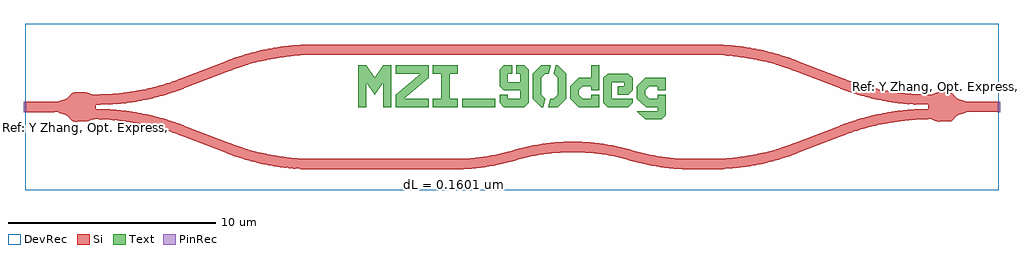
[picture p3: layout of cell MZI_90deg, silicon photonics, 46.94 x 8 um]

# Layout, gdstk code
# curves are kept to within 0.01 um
import gdstk
lib = gdstk.Library(unit=1e-6, precision=1e-09)
def R(c, l, rs):  # rectangles x0, y0, x1, y1
    for r in rs: c.add(gdstk.rectangle(r[:2], r[2:], *l))
def P(c, l, *ps):  # polygons
    for p in ps: c.add(gdstk.Polygon(p, *l))
Si = (1, 0)
PinRec = (1, 10)
Text = (10, 0)
DevRec = (68, 0)

optical_port1_1 = lib.new_cell('optical_port1$1')
optical_port1_1.add(gdstk.FlexPath([(0.05,0),(-0.05,0)], 0.5, ends="flush", simple_path=True, layer=1, datatype=10))  # PinRec
optical_port1_1.add(gdstk.FlexPath([(0.05,0),(-0.05,0)], 0.5, ends="flush", simple_path=True, layer=1, datatype=10))  # PinRec
optical_port1_1.add(gdstk.FlexPath([(0.05,0),(-0.05,0)], 0.5, ends="flush", simple_path=True, layer=1, datatype=10))  # PinRec
optical_port1_1.add(gdstk.FlexPath([(0.05,0),(-0.05,0)], 0.5, ends="flush", simple_path=True, layer=1, datatype=10))  # PinRec
optical_port1_1.add(gdstk.FlexPath([(0.05,0),(-0.05,0)], 0.5, ends="flush", simple_path=True, layer=1, datatype=10))  # PinRec
optical_port1_1.add(gdstk.FlexPath([(0.05,0),(-0.05,0)], 0.5, ends="flush", simple_path=True, layer=1, datatype=10))  # PinRec
optical_port1_1.add(gdstk.FlexPath([(0.05,0),(-0.05,0)], 0.5, ends="flush", simple_path=True, layer=1, datatype=10))  # PinRec
optical_port1_1.add(gdstk.FlexPath([(0.05,0),(-0.05,0)], 0.5, ends="flush", simple_path=True, layer=1, datatype=10))  # PinRec
optical_port1_1.add(gdstk.FlexPath([(0.05,0),(-0.05,0)], 0.5, ends="flush", simple_path=True, layer=1, datatype=10))  # PinRec
optical_port1_1.add(gdstk.FlexPath([(0.05,0),(-0.05,0)], 0.5, ends="flush", simple_path=True, layer=1, datatype=10))  # PinRec
optical_port1_1.add(gdstk.FlexPath([(0.05,0),(-0.05,0)], 0.5, ends="flush", simple_path=True, layer=1, datatype=10))  # PinRec
optical_port1_1.add(gdstk.FlexPath([(0.05,0),(-0.05,0)], 0.5, ends="flush", simple_path=True, layer=1, datatype=10))  # PinRec
optical_port1_1.add(gdstk.FlexPath([(0.05,0),(-0.05,0)], 0.5, ends="flush", simple_path=True, layer=1, datatype=10))  # PinRec
optical_port1_1.add(gdstk.FlexPath([(0.05,0),(-0.05,0)], 0.5, ends="flush", simple_path=True, layer=1, datatype=10))  # PinRec
optical_port1_1.add(gdstk.FlexPath([(0.05,0),(-0.05,0)], 0.5, ends="flush", simple_path=True, layer=1, datatype=10))  # PinRec
optical_port1_1.add(gdstk.FlexPath([(0.05,0),(-0.05,0)], 0.5, ends="flush", simple_path=True, layer=1, datatype=10))  # PinRec
optical_port1_1.add(gdstk.FlexPath([(0.05,0),(-0.05,0)], 0.5, ends="flush", simple_path=True, layer=1, datatype=10))  # PinRec
optical_port1_1.add(gdstk.FlexPath([(0.05,0),(-0.05,0)], 0.5, ends="flush", simple_path=True, layer=1, datatype=10))  # PinRec
optical_port1_1.add(gdstk.FlexPath([(0.05,0),(-0.05,0)], 0.5, ends="flush", simple_path=True, layer=1, datatype=10))  # PinRec
optical_port1_1.add(gdstk.FlexPath([(0.05,0),(-0.05,0)], 0.5, ends="flush", simple_path=True, layer=1, datatype=10))  # PinRec
optical_port1_1.add(gdstk.FlexPath([(0.05,0),(-0.05,0)], 0.5, ends="flush", simple_path=True, layer=1, datatype=10))  # PinRec
optical_port1_1.add(gdstk.FlexPath([(0.05,0),(-0.05,0)], 0.5, ends="flush", simple_path=True, layer=1, datatype=10))  # PinRec
optical_port1_1.add(gdstk.FlexPath([(0.05,0),(-0.05,0)], 0.5, ends="flush", simple_path=True, layer=1, datatype=10))  # PinRec
optical_port1_1.add(gdstk.FlexPath([(0.05,0),(-0.05,0)], 0.5, ends="flush", simple_path=True, layer=1, datatype=10))  # PinRec
optical_port1_1.add(gdstk.FlexPath([(0.05,0),(-0.05,0)], 0.5, ends="flush", simple_path=True, layer=1, datatype=10))  # PinRec
optical_port1_1.add(gdstk.FlexPath([(0.05,0),(-0.05,0)], 0.5, ends="flush", simple_path=True, layer=1, datatype=10))  # PinRec
optical_port1_1.add(gdstk.FlexPath([(0.05,0),(-0.05,0)], 0.5, ends="flush", simple_path=True, layer=1, datatype=10))  # PinRec
optical_port1_1.add(gdstk.FlexPath([(0.05,0),(-0.05,0)], 0.5, ends="flush", simple_path=True, layer=1, datatype=10))  # PinRec
optical_port1_1.add(gdstk.FlexPath([(0.05,0),(-0.05,0)], 0.5, ends="flush", simple_path=True, layer=1, datatype=10))  # PinRec
optical_port1_1.add(gdstk.FlexPath([(0.05,0),(-0.05,0)], 0.5, ends="flush", simple_path=True, layer=1, datatype=10))  # PinRec
optical_port1_1.add(gdstk.FlexPath([(0.05,0),(-0.05,0)], 0.5, ends="flush", simple_path=True, layer=1, datatype=10))  # PinRec
optical_port1_1.add(gdstk.FlexPath([(0.05,0),(-0.05,0)], 0.5, ends="flush", simple_path=True, layer=1, datatype=10))  # PinRec
optical_port1_1.add(gdstk.FlexPath([(0.05,0),(-0.05,0)], 0.5, ends="flush", simple_path=True, layer=1, datatype=10))  # PinRec
optical_port1_1.add(gdstk.FlexPath([(0.05,0),(-0.05,0)], 0.5, ends="flush", simple_path=True, layer=1, datatype=10))  # PinRec
optical_port1_1.add(gdstk.FlexPath([(0.05,0),(-0.05,0)], 0.5, ends="flush", simple_path=True, layer=1, datatype=10))  # PinRec
optical_port1_1.add(gdstk.FlexPath([(0.05,0),(-0.05,0)], 0.5, ends="flush", simple_path=True, layer=1, datatype=10))  # PinRec
optical_port1_1.add(gdstk.FlexPath([(0.05,0),(-0.05,0)], 0.5, ends="flush", simple_path=True, layer=1, datatype=10))  # PinRec
optical_port1_1.add(gdstk.FlexPath([(0.05,0),(-0.05,0)], 0.5, ends="flush", simple_path=True, layer=1, datatype=10))  # PinRec
optical_port1_1.add(gdstk.FlexPath([(0.05,0),(-0.05,0)], 0.5, ends="flush", simple_path=True, layer=1, datatype=10))  # PinRec
optical_port1_1.add(gdstk.FlexPath([(0.05,0),(-0.05,0)], 0.5, ends="flush", simple_path=True, layer=1, datatype=10))  # PinRec
optical_port1_1.add(gdstk.FlexPath([(0.05,0),(-0.05,0)], 0.5, ends="flush", simple_path=True, layer=1, datatype=10))  # PinRec
optical_port1_1.add(gdstk.FlexPath([(0.05,0),(-0.05,0)], 0.5, ends="flush", simple_path=True, layer=1, datatype=10))  # PinRec
optical_port1_1.add(gdstk.Label('o1', (0,0), layer=1, texttype=10))
optical_port1_1.add(gdstk.Label('o1', (0,0), layer=1, texttype=10))
optical_port1_1.add(gdstk.Label('o1', (0,0), layer=1, texttype=10))
optical_port1_1.add(gdstk.Label('o1', (0,0), layer=1, texttype=10))
optical_port1_1.add(gdstk.Label('o1', (0,0), layer=1, texttype=10))
optical_port1_1.add(gdstk.Label('o1', (0,0), layer=1, texttype=10))
optical_port1_1.add(gdstk.Label('o1', (0,0), layer=1, texttype=10))
optical_port1_1.add(gdstk.Label('o1', (0,0), layer=1, texttype=10))
optical_port1_1.add(gdstk.Label('o1', (0,0), layer=1, texttype=10))
optical_port1_1.add(gdstk.Label('o1', (0,0), layer=1, texttype=10))
optical_port1_1.add(gdstk.Label('o1', (0,0), layer=1, texttype=10))
optical_port1_1.add(gdstk.Label('o1', (0,0), layer=1, texttype=10))
optical_port1_1.add(gdstk.Label('o1', (0,0), layer=1, texttype=10))
optical_port1_1.add(gdstk.Label('o1', (0,0), layer=1, texttype=10))
optical_port1_1.add(gdstk.Label('o1', (0,0), layer=1, texttype=10))
optical_port1_1.add(gdstk.Label('o1', (0,0), layer=1, texttype=10))
optical_port1_1.add(gdstk.Label('o1', (0,0), layer=1, texttype=10))
optical_port1_1.add(gdstk.Label('o1', (0,0), layer=1, texttype=10))
optical_port1_1.add(gdstk.Label('o1', (0,0), layer=1, texttype=10))
optical_port1_1.add(gdstk.Label('o1', (0,0), layer=1, texttype=10))
optical_port1_1.add(gdstk.Label('o1', (0,0), layer=1, texttype=10))
optical_port1_1.add(gdstk.Label('o1', (0,0), layer=1, texttype=10))
optical_port1_1.add(gdstk.Label('o1', (0,0), layer=1, texttype=10))
optical_port1_1.add(gdstk.Label('o1', (0,0), layer=1, texttype=10))
optical_port1_1.add(gdstk.Label('o1', (0,0), layer=1, texttype=10))
optical_port1_1.add(gdstk.Label('o1', (0,0), layer=1, texttype=10))
optical_port1_1.add(gdstk.Label('o1', (0,0), layer=1, texttype=10))
optical_port1_1.add(gdstk.Label('o1', (0,0), layer=1, texttype=10))
optical_port1_1.add(gdstk.Label('o1', (0,0), layer=1, texttype=10))
optical_port1_1.add(gdstk.Label('o1', (0,0), layer=1, texttype=10))
optical_port1_1.add(gdstk.Label('o1', (0,0), layer=1, texttype=10))
optical_port1_1.add(gdstk.Label('o1', (0,0), layer=1, texttype=10))
optical_port1_1.add(gdstk.Label('o1', (0,0), layer=1, texttype=10))
optical_port1_1.add(gdstk.Label('o1', (0,0), layer=1, texttype=10))
optical_port1_1.add(gdstk.Label('o1', (0,0), layer=1, texttype=10))
optical_port1_1.add(gdstk.Label('o1', (0,0), layer=1, texttype=10))
optical_port1_1.add(gdstk.Label('o1', (0,0), layer=1, texttype=10))
optical_port1_1.add(gdstk.Label('o1', (0,0), layer=1, texttype=10))
optical_port1_1.add(gdstk.Label('o1', (0,0), layer=1, texttype=10))
optical_port1_1.add(gdstk.Label('o1', (0,0), layer=1, texttype=10))
optical_port1_1.add(gdstk.Label('o1', (0,0), layer=1, texttype=10))
optical_port1_1.add(gdstk.Label('o1', (0,0), layer=1, texttype=10))

optical_port2_1 = lib.new_cell('optical_port2$1')
optical_port2_1.add(gdstk.FlexPath([(-0.05,0),(0.05,0)], 0.5, ends="flush", simple_path=True, layer=1, datatype=10))  # PinRec
optical_port2_1.add(gdstk.FlexPath([(-0.05,0),(0.05,0)], 0.5, ends="flush", simple_path=True, layer=1, datatype=10))  # PinRec
optical_port2_1.add(gdstk.FlexPath([(-0.05,0),(0.05,0)], 0.5, ends="flush", simple_path=True, layer=1, datatype=10))  # PinRec
optical_port2_1.add(gdstk.FlexPath([(-0.05,0),(0.05,0)], 0.5, ends="flush", simple_path=True, layer=1, datatype=10))  # PinRec
optical_port2_1.add(gdstk.FlexPath([(-0.05,0),(0.05,0)], 0.5, ends="flush", simple_path=True, layer=1, datatype=10))  # PinRec
optical_port2_1.add(gdstk.FlexPath([(-0.05,0),(0.05,0)], 0.5, ends="flush", simple_path=True, layer=1, datatype=10))  # PinRec
optical_port2_1.add(gdstk.FlexPath([(-0.05,0),(0.05,0)], 0.5, ends="flush", simple_path=True, layer=1, datatype=10))  # PinRec
optical_port2_1.add(gdstk.FlexPath([(-0.05,0),(0.05,0)], 0.5, ends="flush", simple_path=True, layer=1, datatype=10))  # PinRec
optical_port2_1.add(gdstk.FlexPath([(-0.05,0),(0.05,0)], 0.5, ends="flush", simple_path=True, layer=1, datatype=10))  # PinRec
optical_port2_1.add(gdstk.FlexPath([(-0.05,0),(0.05,0)], 0.5, ends="flush", simple_path=True, layer=1, datatype=10))  # PinRec
optical_port2_1.add(gdstk.FlexPath([(-0.05,0),(0.05,0)], 0.5, ends="flush", simple_path=True, layer=1, datatype=10))  # PinRec
optical_port2_1.add(gdstk.FlexPath([(-0.05,0),(0.05,0)], 0.5, ends="flush", simple_path=True, layer=1, datatype=10))  # PinRec
optical_port2_1.add(gdstk.FlexPath([(-0.05,0),(0.05,0)], 0.5, ends="flush", simple_path=True, layer=1, datatype=10))  # PinRec
optical_port2_1.add(gdstk.FlexPath([(-0.05,0),(0.05,0)], 0.5, ends="flush", simple_path=True, layer=1, datatype=10))  # PinRec
optical_port2_1.add(gdstk.FlexPath([(-0.05,0),(0.05,0)], 0.5, ends="flush", simple_path=True, layer=1, datatype=10))  # PinRec
optical_port2_1.add(gdstk.FlexPath([(-0.05,0),(0.05,0)], 0.5, ends="flush", simple_path=True, layer=1, datatype=10))  # PinRec
optical_port2_1.add(gdstk.FlexPath([(-0.05,0),(0.05,0)], 0.5, ends="flush", simple_path=True, layer=1, datatype=10))  # PinRec
optical_port2_1.add(gdstk.FlexPath([(-0.05,0),(0.05,0)], 0.5, ends="flush", simple_path=True, layer=1, datatype=10))  # PinRec
optical_port2_1.add(gdstk.FlexPath([(-0.05,0),(0.05,0)], 0.5, ends="flush", simple_path=True, layer=1, datatype=10))  # PinRec
optical_port2_1.add(gdstk.FlexPath([(-0.05,0),(0.05,0)], 0.5, ends="flush", simple_path=True, layer=1, datatype=10))  # PinRec
optical_port2_1.add(gdstk.FlexPath([(-0.05,0),(0.05,0)], 0.5, ends="flush", simple_path=True, layer=1, datatype=10))  # PinRec
optical_port2_1.add(gdstk.FlexPath([(-0.05,0),(0.05,0)], 0.5, ends="flush", simple_path=True, layer=1, datatype=10))  # PinRec
optical_port2_1.add(gdstk.FlexPath([(-0.05,0),(0.05,0)], 0.5, ends="flush", simple_path=True, layer=1, datatype=10))  # PinRec
optical_port2_1.add(gdstk.FlexPath([(-0.05,0),(0.05,0)], 0.5, ends="flush", simple_path=True, layer=1, datatype=10))  # PinRec
optical_port2_1.add(gdstk.FlexPath([(-0.05,0),(0.05,0)], 0.5, ends="flush", simple_path=True, layer=1, datatype=10))  # PinRec
optical_port2_1.add(gdstk.FlexPath([(-0.05,0),(0.05,0)], 0.5, ends="flush", simple_path=True, layer=1, datatype=10))  # PinRec
optical_port2_1.add(gdstk.FlexPath([(-0.05,0),(0.05,0)], 0.5, ends="flush", simple_path=True, layer=1, datatype=10))  # PinRec
optical_port2_1.add(gdstk.FlexPath([(-0.05,0),(0.05,0)], 0.5, ends="flush", simple_path=True, layer=1, datatype=10))  # PinRec
optical_port2_1.add(gdstk.FlexPath([(-0.05,0),(0.05,0)], 0.5, ends="flush", simple_path=True, layer=1, datatype=10))  # PinRec
optical_port2_1.add(gdstk.FlexPath([(-0.05,0),(0.05,0)], 0.5, ends="flush", simple_path=True, layer=1, datatype=10))  # PinRec
optical_port2_1.add(gdstk.FlexPath([(-0.05,0),(0.05,0)], 0.5, ends="flush", simple_path=True, layer=1, datatype=10))  # PinRec
optical_port2_1.add(gdstk.FlexPath([(-0.05,0),(0.05,0)], 0.5, ends="flush", simple_path=True, layer=1, datatype=10))  # PinRec
optical_port2_1.add(gdstk.FlexPath([(-0.05,0),(0.05,0)], 0.5, ends="flush", simple_path=True, layer=1, datatype=10))  # PinRec
optical_port2_1.add(gdstk.FlexPath([(-0.05,0),(0.05,0)], 0.5, ends="flush", simple_path=True, layer=1, datatype=10))  # PinRec
optical_port2_1.add(gdstk.FlexPath([(-0.05,0),(0.05,0)], 0.5, ends="flush", simple_path=True, layer=1, datatype=10))  # PinRec
optical_port2_1.add(gdstk.FlexPath([(-0.05,0),(0.05,0)], 0.5, ends="flush", simple_path=True, layer=1, datatype=10))  # PinRec
optical_port2_1.add(gdstk.FlexPath([(-0.05,0),(0.05,0)], 0.5, ends="flush", simple_path=True, layer=1, datatype=10))  # PinRec
optical_port2_1.add(gdstk.FlexPath([(-0.05,0),(0.05,0)], 0.5, ends="flush", simple_path=True, layer=1, datatype=10))  # PinRec
optical_port2_1.add(gdstk.FlexPath([(-0.05,0),(0.05,0)], 0.5, ends="flush", simple_path=True, layer=1, datatype=10))  # PinRec
optical_port2_1.add(gdstk.FlexPath([(-0.05,0),(0.05,0)], 0.5, ends="flush", simple_path=True, layer=1, datatype=10))  # PinRec
optical_port2_1.add(gdstk.FlexPath([(-0.05,0),(0.05,0)], 0.5, ends="flush", simple_path=True, layer=1, datatype=10))  # PinRec
optical_port2_1.add(gdstk.FlexPath([(-0.05,0),(0.05,0)], 0.5, ends="flush", simple_path=True, layer=1, datatype=10))  # PinRec
optical_port2_1.add(gdstk.Label('o2', (0,0), layer=1, texttype=10))
optical_port2_1.add(gdstk.Label('o2', (0,0), layer=1, texttype=10))
optical_port2_1.add(gdstk.Label('o2', (0,0), layer=1, texttype=10))
optical_port2_1.add(gdstk.Label('o2', (0,0), layer=1, texttype=10))
optical_port2_1.add(gdstk.Label('o2', (0,0), layer=1, texttype=10))
optical_port2_1.add(gdstk.Label('o2', (0,0), layer=1, texttype=10))
optical_port2_1.add(gdstk.Label('o2', (0,0), layer=1, texttype=10))
optical_port2_1.add(gdstk.Label('o2', (0,0), layer=1, texttype=10))
optical_port2_1.add(gdstk.Label('o2', (0,0), layer=1, texttype=10))
optical_port2_1.add(gdstk.Label('o2', (0,0), layer=1, texttype=10))
optical_port2_1.add(gdstk.Label('o2', (0,0), layer=1, texttype=10))
optical_port2_1.add(gdstk.Label('o2', (0,0), layer=1, texttype=10))
optical_port2_1.add(gdstk.Label('o2', (0,0), layer=1, texttype=10))
optical_port2_1.add(gdstk.Label('o2', (0,0), layer=1, texttype=10))
optical_port2_1.add(gdstk.Label('o2', (0,0), layer=1, texttype=10))
optical_port2_1.add(gdstk.Label('o2', (0,0), layer=1, texttype=10))
optical_port2_1.add(gdstk.Label('o2', (0,0), layer=1, texttype=10))
optical_port2_1.add(gdstk.Label('o2', (0,0), layer=1, texttype=10))
optical_port2_1.add(gdstk.Label('o2', (0,0), layer=1, texttype=10))
optical_port2_1.add(gdstk.Label('o2', (0,0), layer=1, texttype=10))
optical_port2_1.add(gdstk.Label('o2', (0,0), layer=1, texttype=10))
optical_port2_1.add(gdstk.Label('o2', (0,0), layer=1, texttype=10))
optical_port2_1.add(gdstk.Label('o2', (0,0), layer=1, texttype=10))
optical_port2_1.add(gdstk.Label('o2', (0,0), layer=1, texttype=10))
optical_port2_1.add(gdstk.Label('o2', (0,0), layer=1, texttype=10))
optical_port2_1.add(gdstk.Label('o2', (0,0), layer=1, texttype=10))
optical_port2_1.add(gdstk.Label('o2', (0,0), layer=1, texttype=10))
optical_port2_1.add(gdstk.Label('o2', (0,0), layer=1, texttype=10))
optical_port2_1.add(gdstk.Label('o2', (0,0), layer=1, texttype=10))
optical_port2_1.add(gdstk.Label('o2', (0,0), layer=1, texttype=10))
optical_port2_1.add(gdstk.Label('o2', (0,0), layer=1, texttype=10))
optical_port2_1.add(gdstk.Label('o2', (0,0), layer=1, texttype=10))
optical_port2_1.add(gdstk.Label('o2', (0,0), layer=1, texttype=10))
optical_port2_1.add(gdstk.Label('o2', (0,0), layer=1, texttype=10))
optical_port2_1.add(gdstk.Label('o2', (0,0), layer=1, texttype=10))
optical_port2_1.add(gdstk.Label('o2', (0,0), layer=1, texttype=10))
optical_port2_1.add(gdstk.Label('o2', (0,0), layer=1, texttype=10))
optical_port2_1.add(gdstk.Label('o2', (0,0), layer=1, texttype=10))
optical_port2_1.add(gdstk.Label('o2', (0,0), layer=1, texttype=10))
optical_port2_1.add(gdstk.Label('o2', (0,0), layer=1, texttype=10))
optical_port2_1.add(gdstk.Label('o2', (0,0), layer=1, texttype=10))
optical_port2_1.add(gdstk.Label('o2', (0,0), layer=1, texttype=10))

text_tmzi_90deg_s2_p16p_ = lib.new_cell('text_TMZI_90deg_S2_P16p_6f3ad6c4')
R(text_tmzi_90deg_s2_p16p_, Text, [(13.62,0,15.22,0.4)])
P(text_tmzi_90deg_s2_p16p_, Text, [(22.42,-0.6),(22.02,-0.2),(23.02,-0.2),(23.02,0),(22.488,0),(22.02,0.4),(22.02,1),(22.42,1.4),(23.42,1.4),(23.42,0.8),(23.02,0.8),(23.02,1),(22.62,1),(22.42,0.8),(22.42,0.6),(22.62,0.4),(23.02,0.4),(23.02,0.6),(23.42,0.6),(23.42,-0.4),(23.22,-0.6)],
  [(20.62,0),(20.42,0.2),(20.42,1.4),(20.62,1.6),(21.62,1.6),(21.82,1.4),(21.82,0.8),(21.62,0.6),(21.1,0.6),(21.1,1),(21.42,1),(21.42,1.2),(20.82,1.2),(20.82,0.4),(21.82,0.4),(21.82,0.2),(21.62,0)],
  [(8.62,0),(8.62,2),(9.02,2),(9.42,1.4),(9.82,2),(10.22,2),(10.22,0),(9.82,0),(9.82,1.2),(9.42,0.6),(9.02,1.2),(9.02,0)],
  [(10.42,0),(10.42,0.6),(11.62,1.6),(10.42,1.6),(10.42,2),(12.02,2),(12.02,1.4),(10.82,0.4),(12.02,0.4),(12.02,0)],
  [(12.22,0),(12.22,0.4),(12.62,0.4),(12.62,1.6),(12.22,1.6),(12.22,2),(13.42,2),(13.42,1.6),(13.02,1.6),(13.02,0.4),(13.42,0.4),(13.42,0)],
  [(15.62,0),(15.42,0.2),(15.42,0.6),(15.82,0.6),(15.82,0.4),(16.42,0.4),(16.42,0.8),(15.62,0.8),(15.42,1),(15.42,1.8),(15.62,2),(16.02,2),(16.02,1.6),(15.82,1.6),(15.82,1.2),(16.42,1.2),(16.42,1.6),(16.22,1.6),(16.22,2),(16.62,2),(16.82,1.8),(16.82,0.2),(16.62,0)],
  [(17.42,0),(17.02,0.4),(17.02,1.6),(17.42,2),(17.88,2),(17.78,1.6),(17.62,1.6),(17.42,1.4),(17.42,0.6),(17.62,0.4),(17.52,0)],
  [(17.76,0),(17.86,0.4),(18.02,0.4),(18.22,0.6),(18.22,1.4),(18.02,1.6),(18.12,2),(18.22,2),(18.62,1.6),(18.62,0.4),(18.22,0)],
  [(19.22,0),(18.82,0.4),(18.82,1),(19.22,1.4),(19.82,1.4),(19.82,2),(20.22,2),(20.22,0.8),(19.82,0.8),(19.82,1),(19.42,1),(19.22,0.8),(19.22,0.6),(19.42,0.4),(19.82,0.4),(19.82,0.6),(20.22,0.6),(20.22,0)])

mzi_90deg = lib.new_cell('MZI_90deg')
P(mzi_90deg, Si, [(6.458,-3),(5.718,-2.974),(4.993,-2.903),(4.257,-2.784),(3.509,-2.613),(3.017,-2.472),(2.491,-2.295),(-0.369,-1.202),(-1.123,-0.974),(-1.826,-0.812),(-2.677,-0.678),(-3.601,-0.607),(-4.123,-0.595),(-4.492,-0.699),(-4.991,-0.701),(-5.077,-0.683),(-5.145,-0.647),(-5.344,-0.44),(-5.434,-0.378),(-5.833,-0.25),(-7.4,-0.25),(-7.4,0.25),(-5.833,0.25),(-5.434,0.378),(-5.344,0.44),(-5.145,0.647),(-5.077,0.683),(-4.991,0.701),(-4.492,0.699),(-4.123,0.595),(-3.501,0.611),(-2.619,0.685),(-1.693,0.839),(-0.976,1.014),(-0.334,1.214),(2.412,2.266),(3.102,2.498),(3.59,2.634),(4.147,2.762),(4.757,2.87),(5.294,2.938),(5.868,2.983),(6.458,3),(25.581,3),(26.446,2.965),(27.046,2.903),(27.644,2.81),(28.229,2.688),(28.819,2.533),(29.627,2.266),(32.373,1.214),(33.015,1.014),(33.732,0.839),(34.658,0.685),(35.54,0.611),(36.162,0.595),(36.531,0.699),(37.03,0.701),(37.116,0.683),(37.184,0.647),(37.383,0.44),(37.473,0.378),(37.872,0.25),(39.439,0.25),(39.439,-0.25),(37.872,-0.25),(37.473,-0.378),(37.383,-0.44),(37.184,-0.647),(37.116,-0.683),(37.03,-0.701),(36.531,-0.699),(36.162,-0.595),(35.497,-0.613),(35.033,-0.645),(34.542,-0.7),(33.616,-0.864),(33.015,-1.014),(32.324,-1.231),(29.276,-2.39),(28.605,-2.593),(27.974,-2.745),(27.158,-2.888),(26.225,-2.98),(25.581,-3),(24.427,-2.998),(24.005,-2.98),(23.373,-2.922),(22.954,-2.861),(22.332,-2.737),(21.719,-2.575),(21.861,-2.096),(22.445,-2.25),(23.037,-2.367),(23.635,-2.448),(24.237,-2.492),(25.965,-2.492),(26.567,-2.453),(27.225,-2.373),(28.077,-2.21),(28.527,-2.096),(29.026,-1.946),(29.523,-1.771),(32.008,-0.813),(32.864,-0.537),(33.604,-0.355),(34.42,-0.212),(35.199,-0.13),(36.039,-0.1),(36.039,0.1),(35.304,0.123),(34.603,0.188),(33.934,0.29),(33.253,0.435),(32.651,0.599),(32.125,0.771),(29.507,1.777),(28.757,2.03),(28.24,2.171),(27.625,2.305),(27.006,2.404),(26.414,2.466),(25.583,2.5),(6.456,2.5),(5.9,2.484),(5.368,2.443),(4.814,2.373),(4.256,2.274),(3.731,2.154),(3.18,1.999),(2.516,1.771),(0.031,0.813),(-0.422,0.658),(-0.934,0.507),(-1.757,0.316),(-2.493,0.197),(-3.249,0.124),(-4,0.1),(-4,-0.1),(-3.265,-0.123),(-2.564,-0.188),(-1.895,-0.29),(-1.214,-0.435),(-0.612,-0.599),(-0.086,-0.771),(2.532,-1.777),(3.282,-2.03),(3.799,-2.171),(4.414,-2.305),(5.033,-2.404),(5.625,-2.466),(6.456,-2.5),(13.242,-2.5),(13.845,-2.481),(14.446,-2.425),(15.043,-2.332),(15.632,-2.203),(16.633,-1.934),(17.255,-1.81),(18.095,-1.706),(18.728,-1.673),(19.363,-1.68),(20.206,-1.749),(21.04,-1.888),(21.86,-2.096),(21.718,-2.575),(20.938,-2.378),(20.144,-2.246),(19.342,-2.179),(18.739,-2.173),(18.136,-2.204),(17.338,-2.304),(16.746,-2.421),(15.754,-2.687),(15.135,-2.824),(14.508,-2.922),(13.876,-2.98),(13.242,-3)])
R(mzi_90deg, DevRec, [(-7.4,-4,39.439,4)])
mzi_90deg.add(gdstk.Reference(optical_port1_1, (-7.4,0)))
mzi_90deg.add(gdstk.Reference(optical_port2_1, (39.439,0)))
mzi_90deg.add(gdstk.Reference(text_tmzi_90deg_s2_p16p_, (0,0)))
mzi_90deg.add(gdstk.Label('Ref: Y Zhang, Opt. Express, 21/1, 2013', (-5.65,-1), layer=10, texttype=0))
mzi_90deg.add(gdstk.Label('Ref: Y Zhang, Opt. Express, 21/1, 2013', (37.689,1), layer=10, texttype=0))
mzi_90deg.add(gdstk.Label('dL = 0.1601 um', (13.243,-3.75), layer=10, texttype=0))

lib.write_gds('MZI_90deg.gds')
